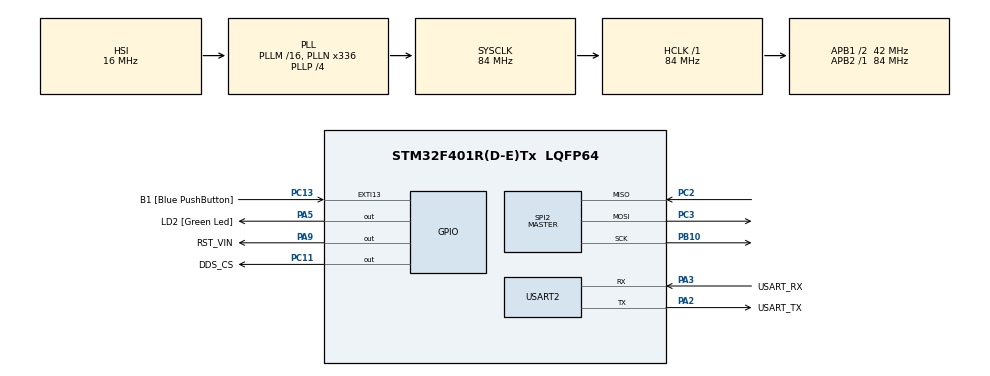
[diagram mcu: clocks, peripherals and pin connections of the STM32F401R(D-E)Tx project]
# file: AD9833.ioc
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Mcu.Family=STM32F4
Mcu.Name=STM32F401R(D-E)Tx
Mcu.Package=LQFP64
NVIC.EXTI15_10_IRQn=true\:0\:0\:false\:false\:true\:true\:true\:true
NVIC.PriorityGroup=NVIC_PRIORITYGROUP_0
PA13.GPIO_Label=TMS
PA13.Mode=Serial_Wire
PA13.Signal=SYS_JTMS-SWDIO
PA14.GPIO_Label=TCK
PA14.Mode=Serial_Wire
PA14.Signal=SYS_JTCK-SWCLK
PA2.GPIO_Label=USART_TX
PA2.GPIO_Mode=GPIO_MODE_AF_PP
PA2.GPIO_PuPd=GPIO_NOPULL
PA2.GPIO_Speed=GPIO_SPEED_FREQ_LOW
PA2.Mode=Asynchronous
PA2.Signal=USART2_TX
PA3.GPIO_Label=USART_RX
PA3.GPIO_Mode=GPIO_MODE_AF_PP
PA3.GPIO_PuPd=GPIO_NOPULL
PA3.GPIO_Speed=GPIO_SPEED_FREQ_LOW
PA3.Mode=Asynchronous
PA3.Signal=USART2_RX
PA5.GPIO_Label=LD2 [Green Led]
PA5.GPIO_Mode=GPIO_MODE_OUTPUT_PP
PA5.GPIO_PuPd=GPIO_NOPULL
PA5.GPIO_Speed=GPIO_SPEED_FREQ_LOW
PA5.Signal=GPIO_Output
PA9.GPIO_Label=RST_VIN
PA9.Signal=GPIO_Output
PB10.Mode=Full_Duplex_Master
PB10.Signal=SPI2_SCK
PB3.GPIO_Label=SWO
PB3.Signal=SYS_JTDO-SWO
PC11.GPIO_Label=DDS_CS
PC11.Signal=GPIO_Output
PC13-ANTI_TAMP.GPIO_Label=B1 [Blue PushButton]
PC13-ANTI_TAMP.GPIO_ModeDefaultEXTI=GPIO_MODE_IT_FALLING
PC13-ANTI_TAMP.GPIO_PuPd=GPIO_NOPULL
PC13-ANTI_TAMP.Signal=GPXTI13
PC14-OSC32_IN.Mode=LSE-External-Oscillator
PC14-OSC32_IN.Signal=RCC_OSC32_IN
PC15-OSC32_OUT.Mode=LSE-External-Oscillator
PC15-OSC32_OUT.Signal=RCC_OSC32_OUT
PC2.Mode=Full_Duplex_Master
PC2.Signal=SPI2_MISO
PC3.Mode=Full_Duplex_Master
PC3.Signal=SPI2_MOSI
PH0\ -\ OSC_IN.Mode=HSE-External-Clock-Source
PH0\ -\ OSC_IN.Signal=RCC_OSC_IN
PH1\ -\ OSC_OUT.Mode=HSE-External-Clock-Source
PH1\ -\ OSC_OUT.Signal=RCC_OSC_OUT
ProjectManager.HeapSize=0x200
ProjectManager.StackSize=0x400
ProjectManager.TargetToolchain=STM32CubeIDE
RCC.48MHZClocksFreq_Value=48000000
RCC.AHBFreq_Value=84000000
RCC.APB1CLKDivider=RCC_HCLK_DIV2
RCC.APB1Freq_Value=42000000
RCC.APB1TimFreq_Value=84000000
RCC.APB2Freq_Value=84000000
RCC.APB2TimFreq_Value=84000000
RCC.CortexFreq_Value=84000000
RCC.HCLKFreq_Value=84000000
RCC.HSE_VALUE=8000000
RCC.HSI_VALUE=16000000
RCC.PLLN=336
RCC.PLLP=RCC_PLLP_DIV4
RCC.PLLQ=7
RCC.SYSCLKFreq_VALUE=84000000
RCC.SYSCLKSource=RCC_SYSCLKSOURCE_PLLCLK
RCC.VCOOutputFreq_Value=336000000
SPI2.BaudRatePrescaler=SPI_BAUDRATEPRESCALER_128
SPI2.CLKPolarity=SPI_POLARITY_HIGH
SPI2.Direction=SPI_DIRECTION_2LINES
SPI2.Mode=SPI_MODE_MASTER
SPI2.VirtualType=VM_MASTER
USART2.VirtualMode=VM_ASYNC
board=NUCLEO-F401RE

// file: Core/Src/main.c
/* USER CODE BEGIN Header */
/**
  ******************************************************************************
  * @file           : main.c
  * @brief          : Main program body
  ******************************************************************************
  * @attention
  *
  * Copyright (c) 2022 STMicroelectronics.
  * All rights reserved.
  *
  * This software is licensed under terms that can be found in the LICENSE file
  * in the root directory of this software component.
  * If no LICENSE file comes with this software, it is provided AS-IS.
  *
  ******************************************************************************
  */
/* USER CODE END Header */
#include "main.h"

/* USER CODE BEGIN Includes */
#include "AD9833.h"
/* USER CODE END Includes */

SPI_HandleTypeDef hspi2;

UART_HandleTypeDef huart2;

/* USER CODE BEGIN PV */
uint8_t puls = 0;
/* USER CODE END PV */

void SystemClock_Config(void);
static void MX_GPIO_Init(void);
static void MX_USART2_UART_Init(void);
static void MX_SPI2_Init(void);

int main(void)
{
  /* USER CODE BEGIN 1 */
  uint8_t estado = TRUE;
  /* USER CODE END 1 */

  /* MCU Configuration--------------------------------------------------------*/

  /* Reset of all peripherals, Initializes the Flash interface and the Systick. */
  HAL_Init();

  /* Configure the system clock */
  SystemClock_Config();

  /* Initialize all configured peripherals */
  MX_GPIO_Init();
  MX_USART2_UART_Init();
  MX_SPI2_Init();
  /* USER CODE BEGIN 2 */
  AD9833_Init();

  /* USER CODE END 2 */

  /* Infinite loop */
  /* USER CODE BEGIN WHILE */
  while (1)
  {

	  if(puls)
	  {
		  if(estado == TRUE)
		  {
			  estado = FALSE;
		  	  AD9833_SetEnabled(estado);
		  	  HAL_Delay(100);
		  	  HAL_GPIO_WritePin(RST_VIN_GPIO_Port, RST_VIN_Pin, GPIO_PIN_SET);
		  	  HAL_Delay(1);
		  	  HAL_GPIO_WritePin(RST_VIN_GPIO_Port, RST_VIN_Pin, GPIO_PIN_RESET);
		  }
		  else
		  {
			  estado = TRUE;
			  AD9833_SetEnabled(estado);

		  }
		  HAL_Delay(100);
		  puls = 0;
	  }
    /* USER CODE END WHILE */

  }
}

void SystemClock_Config(void)
{
  RCC_OscInitTypeDef RCC_OscInitStruct = {0};
  RCC_ClkInitTypeDef RCC_ClkInitStruct = {0};

  /** Configure the main internal regulator output voltage
  */
  __HAL_RCC_PWR_CLK_ENABLE();
  __HAL_PWR_VOLTAGESCALING_CONFIG(PWR_REGULATOR_VOLTAGE_SCALE2);

  /** Initializes the RCC Oscillators according to the specified parameters
  * in the RCC_OscInitTypeDef structure.
  */
  RCC_OscInitStruct.OscillatorType = RCC_OSCILLATORTYPE_HSI;
  RCC_OscInitStruct.HSIState = RCC_HSI_ON;
  RCC_OscInitStruct.HSICalibrationValue = RCC_HSICALIBRATION_DEFAULT;
  RCC_OscInitStruct.PLL.PLLState = RCC_PLL_ON;
  RCC_OscInitStruct.PLL.PLLSource = RCC_PLLSOURCE_HSI;
  RCC_OscInitStruct.PLL.PLLM = 16;
  RCC_OscInitStruct.PLL.PLLN = 336;
  RCC_OscInitStruct.PLL.PLLP = RCC_PLLP_DIV4;
  RCC_OscInitStruct.PLL.PLLQ = 7;
  if (HAL_RCC_OscConfig(&RCC_OscInitStruct) != HAL_OK)
  {
    Error_Handler();
  }

  /** Initializes the CPU, AHB and APB buses clocks
  */
  RCC_ClkInitStruct.ClockType = RCC_CLOCKTYPE_HCLK|RCC_CLOCKTYPE_SYSCLK
                              |RCC_CLOCKTYPE_PCLK1|RCC_CLOCKTYPE_PCLK2;
  RCC_ClkInitStruct.SYSCLKSource = RCC_SYSCLKSOURCE_PLLCLK;
  RCC_ClkInitStruct.AHBCLKDivider = RCC_SYSCLK_DIV1;
  RCC_ClkInitStruct.APB1CLKDivider = RCC_HCLK_DIV2;
  RCC_ClkInitStruct.APB2CLKDivider = RCC_HCLK_DIV1;

  if (HAL_RCC_ClockConfig(&RCC_ClkInitStruct, FLASH_LATENCY_2) != HAL_OK)
  {
    Error_Handler();
  }
}

static void MX_SPI2_Init(void)
{

  /* SPI2 parameter configuration*/
  hspi2.Instance = SPI2;
  hspi2.Init.Mode = SPI_MODE_MASTER;
  hspi2.Init.Direction = SPI_DIRECTION_2LINES;
  hspi2.Init.DataSize = SPI_DATASIZE_8BIT;
  hspi2.Init.CLKPolarity = SPI_POLARITY_HIGH;
  hspi2.Init.CLKPhase = SPI_PHASE_1EDGE;
  hspi2.Init.NSS = SPI_NSS_SOFT;
  hspi2.Init.BaudRatePrescaler = SPI_BAUDRATEPRESCALER_128;
  hspi2.Init.FirstBit = SPI_FIRSTBIT_MSB;
  hspi2.Init.TIMode = SPI_TIMODE_DISABLE;
  hspi2.Init.CRCCalculation = SPI_CRCCALCULATION_DISABLE;
  hspi2.Init.CRCPolynomial = 10;
  if (HAL_SPI_Init(&hspi2) != HAL_OK)
  {
    Error_Handler();
  }

}

static void MX_USART2_UART_Init(void)
{

  huart2.Instance = USART2;
  huart2.Init.BaudRate = 115200;
  huart2.Init.WordLength = UART_WORDLENGTH_8B;
  huart2.Init.StopBits = UART_STOPBITS_1;
  huart2.Init.Parity = UART_PARITY_NONE;
  huart2.Init.Mode = UART_MODE_TX_RX;
  huart2.Init.HwFlowCtl = UART_HWCONTROL_NONE;
  huart2.Init.OverSampling = UART_OVERSAMPLING_16;
  if (HAL_UART_Init(&huart2) != HAL_OK)
  {
    Error_Handler();
  }

}

static void MX_GPIO_Init(void)
{
  GPIO_InitTypeDef GPIO_InitStruct = {0};

  /* GPIO Ports Clock Enable */
  __HAL_RCC_GPIOC_CLK_ENABLE();
  __HAL_RCC_GPIOH_CLK_ENABLE();
  __HAL_RCC_GPIOA_CLK_ENABLE();
  __HAL_RCC_GPIOB_CLK_ENABLE();

  /*Configure GPIO pin Output Level */
  HAL_GPIO_WritePin(GPIOA, LD2_Pin|RST_VIN_Pin, GPIO_PIN_RESET);

  /*Configure GPIO pin Output Level */
  HAL_GPIO_WritePin(DDS_CS_GPIO_Port, DDS_CS_Pin, GPIO_PIN_RESET);

  /*Configure GPIO pin : B1_Pin */
  GPIO_InitStruct.Pin = B1_Pin;
  GPIO_InitStruct.Mode = GPIO_MODE_IT_FALLING;
  GPIO_InitStruct.Pull = GPIO_NOPULL;
  HAL_GPIO_Init(B1_GPIO_Port, &GPIO_InitStruct);

  /*Configure GPIO pins : LD2_Pin RST_VIN_Pin */
  GPIO_InitStruct.Pin = LD2_Pin|RST_VIN_Pin;
  GPIO_InitStruct.Mode = GPIO_MODE_OUTPUT_PP;
  GPIO_InitStruct.Pull = GPIO_NOPULL;
  GPIO_InitStruct.Speed = GPIO_SPEED_FREQ_LOW;
  HAL_GPIO_Init(GPIOA, &GPIO_InitStruct);

  /*Configure GPIO pin : DDS_CS_Pin */
  GPIO_InitStruct.Pin = DDS_CS_Pin;
  GPIO_InitStruct.Mode = GPIO_MODE_OUTPUT_PP;
  GPIO_InitStruct.Pull = GPIO_NOPULL;
  GPIO_InitStruct.Speed = GPIO_SPEED_FREQ_LOW;
  HAL_GPIO_Init(DDS_CS_GPIO_Port, &GPIO_InitStruct);

  /* EXTI interrupt init*/
  HAL_NVIC_SetPriority(EXTI15_10_IRQn, 0, 0);
  HAL_NVIC_EnableIRQ(EXTI15_10_IRQn);

}

/* USER CODE BEGIN 4 */
void HAL_GPIO_EXTI_Callback(uint16_t GPIO_Pin)
{
	puls = 1;
}
/* USER CODE END 4 */

void Error_Handler(void)
{
  __disable_irq();
  while (1)
  {
  }
}
